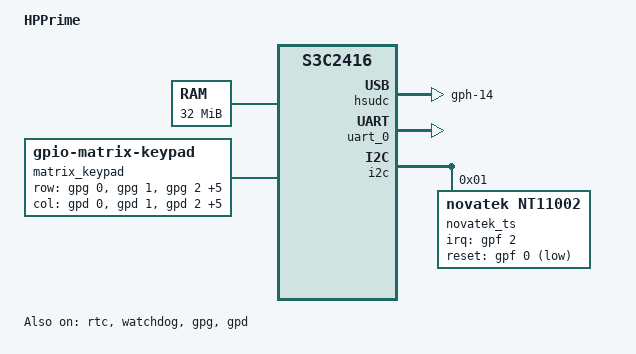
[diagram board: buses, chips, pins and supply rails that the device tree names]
// SPDX-License-Identifier: GPL-2.0
/*
 * Samsung SMDK2416 board device tree source
 *
 * Copyright (c) 2013 Heiko Stuebner <heiko@sntech.de>
 */

/dts-v1/;
#include <dt-bindings/gpio/gpio.h>
#include <dt-bindings/input/input.h>
#include <dt-bindings/interrupt-controller/irq.h>

#include "s3c2416.dtsi"

/ {
	model = "HPPrime";
	compatible = "samsung,smdk2416", "samsung,s3c2416";

	memory@30000000 {
		device_type = "memory";
		reg =  <0x30000000 0x2000000>;
	};

	xti: clock-0 {
		compatible = "fixed-clock";
		clock-frequency = <12000000>;
		clock-output-names = "xti";
		#clock-cells = <0>;
	};
	
    hsudc: hsudc@49800000 {
        compatible = "samsung,s3c2416-hsudc";
        reg = <0x49800000 0x200>;
        interrupt-parent = <&intc>; /* Ensure this points to your s3c24xx-irq node */
        interrupts = <0 0 25 1>;    /* <Ctrl_ID Parent_IRQ HWIRQ_Index Trigger> */
		pinctrl-names = "default";
        pinctrl-0 = <&hsudc_pullup>; 
    };
    matrix_keypad: matrix-keypad {
        compatible = "gpio-matrix-keypad";

        /* GPIO Configuration */

        row-gpios = <&gpg 0 GPIO_ACTIVE_HIGH>,
                    <&gpg 1 GPIO_ACTIVE_HIGH>,
                    <&gpg 2 GPIO_ACTIVE_HIGH>,
                    <&gpg 3 GPIO_ACTIVE_HIGH>,
                    <&gpg 4 GPIO_ACTIVE_HIGH>,
                    <&gpg 5 GPIO_ACTIVE_HIGH>,
                    <&gpg 6 GPIO_ACTIVE_HIGH>,
                    <&gpg 7 GPIO_ACTIVE_HIGH>;

        col-gpios = <&gpd 0 GPIO_ACTIVE_HIGH>,
                    <&gpd 1 GPIO_ACTIVE_HIGH>,
                    <&gpd 2 GPIO_ACTIVE_HIGH>,
                    <&gpd 3 GPIO_ACTIVE_HIGH>,
                    <&gpd 4 GPIO_ACTIVE_HIGH>,
                    <&gpd 5 GPIO_ACTIVE_HIGH>,
                    <&gpd 6 GPIO_ACTIVE_HIGH>,
                    <&gpd 7 GPIO_ACTIVE_HIGH>;
                    
        /* Timing Configuration */
        debounce-delay-ms = <10>;
        col-scan-delay-us = <100>;

        /* Feature Flags */
        wakeup-source; /* This boolean property enables wakeup */
       
        /* Fn Key Configuration (using our new binding) */
        linux,fn-key-position = <0 0>; /* Fn key is at ROW=0, COL=0 */

        /*
         * Keymaps
         * Format is: <scan_code linux_key_code>
         * scan_code = (row << 3) | column
         */
        linux,keymap = <
            /* Normal Layer */
            MATRIX_KEY(7, 0, KEY_ENTER)
            MATRIX_KEY(7, 1, KEY_RIGHT)
            MATRIX_KEY(6, 0, KEY_O) MATRIX_KEY(6, 1, KEY_R) MATRIX_KEY(6, 2, KEY_Q) MATRIX_KEY(6, 3, KEY_W)
            MATRIX_KEY(6, 4, KEY_V) MATRIX_KEY(6, 5, KEY_U) MATRIX_KEY(6, 6, KEY_SLASH) MATRIX_KEY(6, 7, KEY_Z)
            MATRIX_KEY(5, 0, KEY_S) MATRIX_KEY(5, 1, KEY_BACKSLASH)
            MATRIX_KEY(5, 2, KEY_MENU) MATRIX_KEY(5, 3, KEY_CAPSLOCK)
            MATRIX_KEY(5, 4, KEY_UP) MATRIX_KEY(5, 5, KEY_Y) MATRIX_KEY(5, 6, KEY_DOT) MATRIX_KEY(5, 7, KEY_PAUSE)
            MATRIX_KEY(4, 0, KEY_LEFTMETA) MATRIX_KEY(4, 1, KEY_LEFTALT) MATRIX_KEY(4, 2, KEY_TAB) MATRIX_KEY(4, 3, KEY_HOME)
            MATRIX_KEY(4, 4, KEY_GRAVE) MATRIX_KEY(4, 5, KEY_DOWN) MATRIX_KEY(4, 6, KEY_ESC) MATRIX_KEY(4, 7, KEY_N)
            MATRIX_KEY(3, 0, KEY_M) MATRIX_KEY(3, 1, KEY_L) MATRIX_KEY(3, 2, KEY_K) MATRIX_KEY(3, 3, KEY_J)
            MATRIX_KEY(3, 4, KEY_I) MATRIX_KEY(3, 5, KEY_H) MATRIX_KEY(3, 6, KEY_LEFTSHIFT) MATRIX_KEY(3, 7, KEY_F)
            MATRIX_KEY(2, 0, KEY_BACKSPACE) MATRIX_KEY(2, 1, KEY_D) MATRIX_KEY(2, 2, KEY_C) MATRIX_KEY(2, 3, KEY_LEFTCTRL)
            MATRIX_KEY(2, 4, KEY_E) MATRIX_KEY(2, 5, KEY_A) MATRIX_KEY(2, 6, KEY_G) MATRIX_KEY(2, 7, KEY_B)
            MATRIX_KEY(1, 0, KEY_P) MATRIX_KEY(1, 1, KEY_COMMA) MATRIX_KEY(1, 2, KEY_T) MATRIX_KEY(1, 3, KEY_X)
            MATRIX_KEY(1, 4, KEY_MINUS) MATRIX_KEY(1, 5, KEY_EQUAL) MATRIX_KEY(1, 6, KEY_SPACE) MATRIX_KEY(1, 7, KEY_LEFT)
        >;

        linux,fn-keymap = <
            /* Fn Layer */
            MATRIX_KEY(7, 0, KEY_ENTER)
            MATRIX_KEY(7, 1, KEY_END)
            MATRIX_KEY(6, 1, KEY_8) MATRIX_KEY(6, 2, KEY_7) MATRIX_KEY(6, 3, KEY_6)
            MATRIX_KEY(6, 4, KEY_5) MATRIX_KEY(6, 5, KEY_4) MATRIX_KEY(6, 6, KEY_3) MATRIX_KEY(6, 7, KEY_2)
            MATRIX_KEY(5, 0, KEY_9) MATRIX_KEY(5, 1, KEY_BACKSLASH)
            MATRIX_KEY(5, 2, KEY_MENU) MATRIX_KEY(5, 3, KEY_CAPSLOCK)
            MATRIX_KEY(5, 4, KEY_PAGEUP) MATRIX_KEY(5, 5, KEY_1) MATRIX_KEY(5, 6, KEY_DOT) MATRIX_KEY(5, 7, KEY_PAUSE)
            MATRIX_KEY(4, 0, KEY_RIGHTMETA) MATRIX_KEY(4, 1, KEY_RIGHTALT) MATRIX_KEY(4, 2, KEY_TAB) MATRIX_KEY(4, 3, KEY_INSERT)
            MATRIX_KEY(4, 4, KEY_GRAVE) MATRIX_KEY(4, 5, KEY_PAGEDOWN) MATRIX_KEY(4, 6, KEY_ESC) MATRIX_KEY(4, 7, KEY_APOSTROPHE)
            MATRIX_KEY(3, 1, KEY_F12) MATRIX_KEY(3, 2, KEY_F11) MATRIX_KEY(3, 3, KEY_F10) MATRIX_KEY(3, 4, KEY_F9)
            MATRIX_KEY(3, 5, KEY_F8) MATRIX_KEY(3, 6, KEY_RIGHTSHIFT) MATRIX_KEY(3, 7, KEY_F6)
            MATRIX_KEY(2, 0, KEY_DELETE) MATRIX_KEY(2, 1, KEY_F4) MATRIX_KEY(2, 2, KEY_F3) MATRIX_KEY(2, 3, KEY_RIGHTCTRL)
            MATRIX_KEY(2, 4, KEY_F5) MATRIX_KEY(2, 5, KEY_F1) MATRIX_KEY(2, 6, KEY_F7) MATRIX_KEY(2, 7, KEY_F2)
            MATRIX_KEY(1, 1, KEY_0) MATRIX_KEY(1, 2, KEY_LEFTBRACE) MATRIX_KEY(1, 3, KEY_RIGHTBRACE)
            MATRIX_KEY(1, 4, KEY_MINUS) MATRIX_KEY(1, 5, KEY_SEMICOLON) MATRIX_KEY(1, 6, KEY_SPACE) MATRIX_KEY(1, 7, KEY_HOME)
        >;
    };
	
	
};

&uart_0 {
	status = "okay";
	pinctrl-names = "default";
	pinctrl-0 = <&uart0_data>, <&uart0_fctl>;
    clock-names = "uart", "clk_uart_baud0";
	clocks = <&clocks PCLK_UART0>, <&clocks PCLK_UART0>;
};
&intc {
	status="okay";
};

&rtc {
	status = "okay";
};


&watchdog {
	status = "okay";
};
&i2c{
	status = "okay";
    pinctrl-names = "default";
	pinctrl-0 = <&i2c0_bus>;
        novatek_ts@1 {
        compatible = "novatek,nt11002";
        reg = <0x01>; /* 确保地址对 */
        
        irq-gpios =  <&gpf 2 GPIO_ACTIVE_HIGH>;   /* 0 = GPIO_ACTIVE_HIGH (物理电平), 驱动里配了触发沿，这里不重要 */
        reset-gpios = <&gpf 0 GPIO_ACTIVE_LOW>; /* 1 = GPIO_ACTIVE_LOW (逻辑1代表低电平) */

        /* 分辨率 */
        touchscreen-size-x = <0x1C0>;
        touchscreen-size-y = <0x140>;
    };
	
};
&pinctrl_0 {
    hsudc_pullup: hsudc-pullup {
        samsung,pins = "gph-14";
        samsung,pin-function = <1>; /* Function 1 = Output */
        samsung,pin-pud = <2>;      /* Pull-Up (S3C2416: 0=None, 1=Down, 2=Up) */
        samsung,pin-val = <1>;      /* Initial Value = High (拉高启用 USB) */
    };
    };
&gpg {
status = "okay";
};
&gpd {
status = "okay";
};
